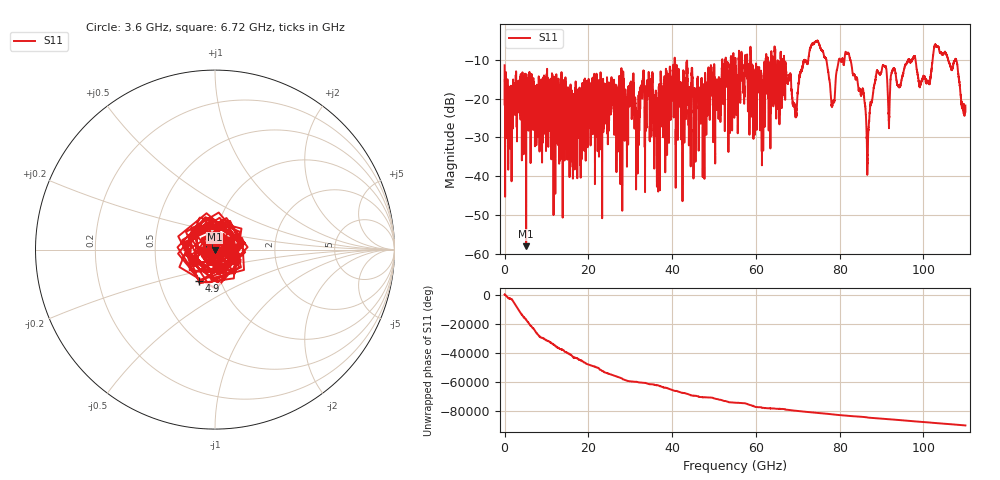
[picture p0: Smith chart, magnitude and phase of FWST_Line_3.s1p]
#  HZ  S  RI  R  50.00
! Rohde & Schwarz ZVA67 4Ports - Version 4.11 - 1305.7002k04 SN: 101032
! Date: 2026-02-18 15:32:51
! Measurement: a2d1/b2d1sam
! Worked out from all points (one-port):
!   5500 points, 20 MHz to 110 GHz, reference 50 ohm
!   lowest |S11| = -58.1 dB at 5.16 GHz (marker M1), VSWR 1.00, Z = 49.9 + j0.0503 ohm
!   |S11| at or under -10 dB: start of sweep to 40.61 GHz; 40.63 GHz to 51.98 GHz (11.34 GHz wide, 24.5 % of centre); 82.53 GHz to 96.36 GHz (13.83 GHz wide, 15.5 % of centre)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
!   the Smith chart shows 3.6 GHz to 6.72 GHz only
!   S11 on the Smith chart (normalised r, x): 3.6 GHz: 1.19, -0.04; 4.9 GHz: 0.79, -0.29; 6.72 GHz: 1.06, +0.29
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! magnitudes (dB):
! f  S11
! 20 MHz  -11.4
! 1.38 GHz  -28.4
! 3.6 GHz  -21.1
! 4.9 GHz  -14.2
! 5.16 GHz  -58.1
! 6.72 GHz  -17.0
! 13.78 GHz  -24.2
! 27.52 GHz  -19.6
! 30.34 GHz  -18.9
! 31.52 GHz  -25.4
! 32.86 GHz  -20.0
! 36.2 GHz  -18.4
! 41.28 GHz  -24.8
! 45.5 GHz  -21.7
! 55.02 GHz  -15.6
! 68.76 GHz  -21.5
! 73.92 GHz  -5.6
! 78.34 GHz  -21.1
! 79.76 GHz  -10.2
! 82.52 GHz  -9.9
! 86.68 GHz  -34.5
! 88.98 GHz  -12.8
! 91.8 GHz  -25.5
! 96.26 GHz  -10.2
! 101.1 GHz  -15.5
! 103.2 GHz  -6.7
! 107.7 GHz  -10.0
! 110 GHz  -21.8
